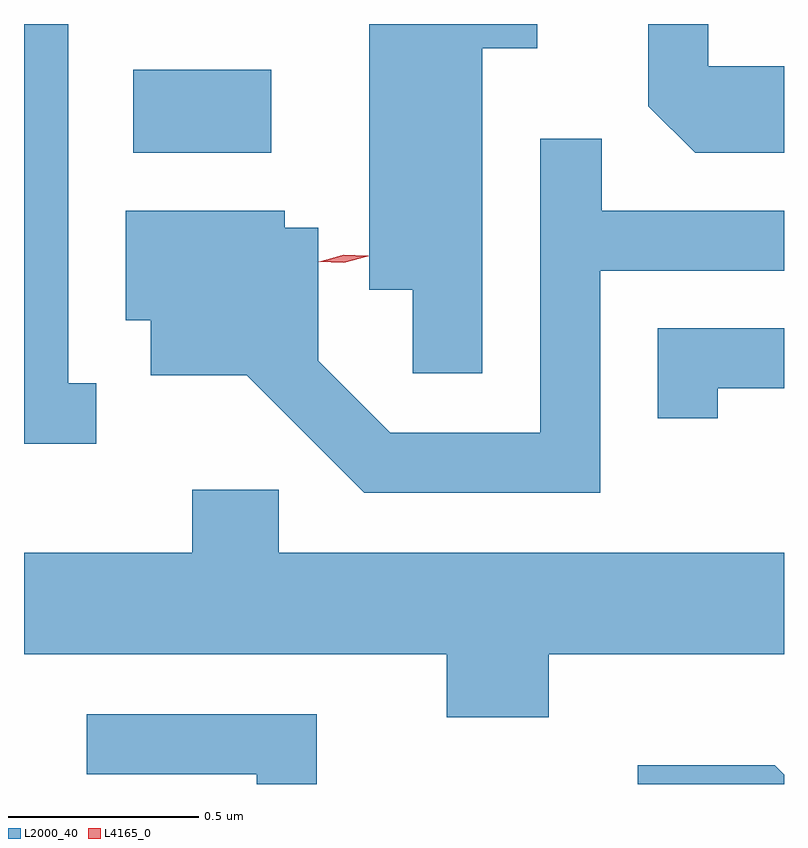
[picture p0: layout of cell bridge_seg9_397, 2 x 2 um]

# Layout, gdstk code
import gdstk
lib = gdstk.Library(unit=1e-6, precision=1e-09)
def R(c, l, rs):  # rectangles x0, y0, x1, y1
    for r in rs: c.add(gdstk.rectangle(r[:2], r[2:], *l))
def P(c, l, *ps):  # polygons
    for p in ps: c.add(gdstk.Polygon(p, *l))
L2000_40 = (2000, 40)
L4165_0 = (4165, 0)

bridge_seg9_397 = lib.new_cell('bridge_seg9_397')
R(bridge_seg9_397, L2000_40, [(1066.656,1959.836,1067.019,1960.054)])
P(bridge_seg9_397, L2000_40, [(1066.558,1959.229),(1066.484,1959.229),(1066.484,1960.175),(1066.368,1960.175),(1066.368,1959.071),(1066.558,1959.071)],
  [(1068.368,1960.064),(1068.169,1960.064),(1068.169,1960.175),(1068.011,1960.175),(1068.011,1959.959),(1068.134,1959.836),(1068.368,1959.836)],
  [(1067.574,1960.111),(1067.719,1960.111),(1067.719,1960.175),(1067.277,1960.175),(1067.277,1960.102),(1067.276,1960.102),(1067.276,1959.476),(1067.391,1959.476),(1067.391,1959.256),(1067.574,1959.256)],
  [(1067.884,1959.526),(1068.368,1959.526),(1068.368,1959.684),(1067.889,1959.684),(1067.889,1959.873),(1067.726,1959.873),(1067.726,1959.099),(1067.332,1959.099),(1067.142,1959.289),(1067.142,1959.639),(1067.054,1959.639),(1067.054,1959.684),(1066.636,1959.684),(1066.636,1959.396),(1066.701,1959.396),(1066.701,1959.251),(1066.954,1959.251),(1067.264,1958.941),(1067.884,1958.941)],
  [(1068.194,1959.216),(1068.368,1959.216),(1068.368,1959.374),(1068.036,1959.374),(1068.036,1959.138),(1068.194,1959.138)],
  [(1067.749,1958.516),(1068.368,1958.516),(1068.368,1958.784),(1067.039,1958.784),(1067.039,1958.949),(1066.811,1958.949),(1066.811,1958.784),(1066.368,1958.784),(1066.368,1958.516),(1067.481,1958.516),(1067.481,1958.351),(1067.749,1958.351)],
  [(1067.139,1958.359),(1066.533,1958.359),(1066.533,1958.201),(1066.981,1958.201),(1066.981,1958.175),(1067.139,1958.175)],
  [(1068.368,1958.2),(1068.344,1958.224),(1067.983,1958.224),(1067.983,1958.175),(1068.368,1958.175)])
P(bridge_seg9_397, L4165_0, [(1067.21,1959.547),(1067.144,1959.549),(1067.144,1959.55),(1067.144,1959.55),(1067.208,1959.567),(1067.274,1959.565),(1067.274,1959.564),(1067.274,1959.564)],
  [(1067.211,1959.548),(1067.15,1959.55),(1067.149,1959.551),(1067.15,1959.551),(1067.209,1959.568),(1067.27,1959.565),(1067.27,1959.564),(1067.27,1959.564)])

lib.write_gds('bridge_seg9_397.gds')
